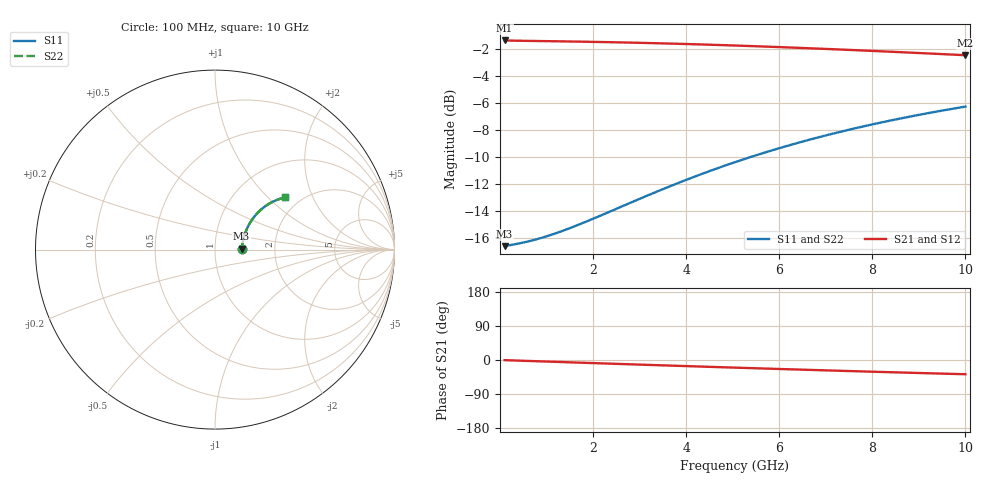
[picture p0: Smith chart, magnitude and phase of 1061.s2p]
# Hz S RI R 50.00
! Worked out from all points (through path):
!   100 points, 100 MHz to 10 GHz, reference 50 ohm
!   highest |S21| = -1.40 dB at 100 MHz (marker M1); lowest = -2.5 dB at 10 GHz (marker M2)
!   group delay of S21, straight-line fit = 10.5 ps
!   lowest |S11| = -16.6 dB at 100 MHz (marker M3), VSWR 1.35, Z = 67.4 + j0.613 ohm
!   |S11| at or under -10 dB: start of sweep to 5.379 GHz
!   |S22| runs from -16.6 to -6.3 dB; largest |S21 - S12| = 0
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1e8  0.1484 0.00445  0.8516 -0.0061  0.8516 -0.0061  0.1484 0.00445
5e8  0.1515 0.0221  0.8485 -0.0304  0.8485 -0.0304  0.1515 0.0221
7e8  0.1529 0.0308  0.847 -0.0424  0.847 -0.0424  0.1529 0.0308
9e8  0.1545 0.0395  0.8454 -0.0544  0.8454 -0.0544  0.1545 0.0395
1.1e9  0.1562 0.0481  0.8436 -0.0664  0.8436 -0.0664  0.1562 0.0481
1.3e9  0.1581 0.0567  0.8416 -0.0782  0.8416 -0.0782  0.1581 0.0567
1.8e9  0.1638 0.0778  0.8357 -0.1076  0.8357 -0.1076  0.1638 0.0778
2.6e9  0.1756 0.1103  0.8234 -0.1534  0.8234 -0.1534  0.1756 0.1103
3.4e9  0.1905 0.141  0.8077 -0.1974  0.8077 -0.1974  0.1905 0.141
3.9e9  0.2014 0.1591  0.7963 -0.2238  0.7963 -0.2238  0.2014 0.1591
4.3e9  0.2109 0.1728  0.7864 -0.2442  0.7864 -0.2442  0.2109 0.1728
4.7e9  0.221 0.1859  0.7757 -0.264  0.7757 -0.264  0.221 0.1859
5.1e9  0.2317 0.1983  0.7644 -0.2831  0.7644 -0.2831  0.2317 0.1983
5.5e9  0.2429 0.21  0.7526 -0.3015  0.7526 -0.3015  0.2429 0.21
5.9e9  0.2545 0.221  0.7402 -0.3192  0.7402 -0.3192  0.2545 0.221
6.3e9  0.2666 0.2313  0.7274 -0.3362  0.7274 -0.3362  0.2666 0.2313
6.7e9  0.2791 0.2407  0.7141 -0.3524  0.7141 -0.3524  0.2791 0.2407
7.5e9  0.3049 0.2574  0.6866 -0.3826  0.6866 -0.3826  0.3049 0.2574
7.9e9  0.3182 0.2646  0.6724 -0.3966  0.6724 -0.3966  0.3182 0.2646
8.4e9  0.3349 0.2726  0.6544 -0.413  0.6544 -0.413  0.3349 0.2726
9.2e9  0.362 0.2829  0.6251 -0.437  0.6251 -0.437  0.362 0.2829
1e10  0.3892 0.2904  0.5955 -0.4582  0.5955 -0.4582  0.3892 0.2904
